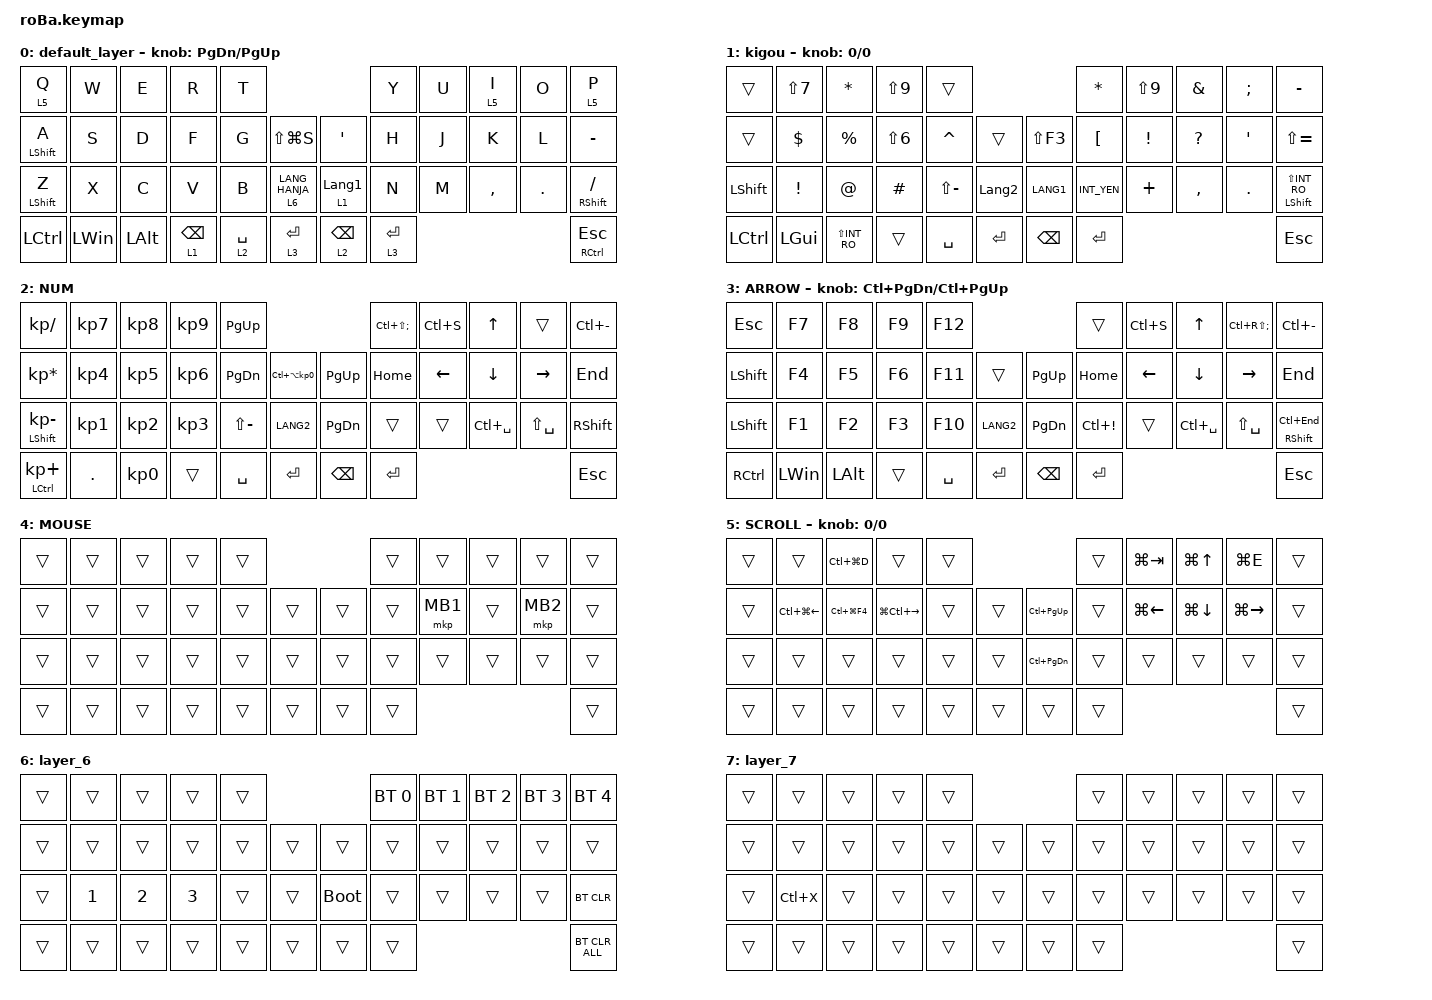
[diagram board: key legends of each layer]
#include <behaviors.dtsi>
#include <dt-bindings/zmk/bt.h>
#include <dt-bindings/zmk/keys.h>
#include <dt-bindings/zmk/pointing.h>

&mt {
    flavor = "balanced";
    quick-tap-ms = <0>;
};

&trackball {
    automouse-layer = <4>;
    scroll-layers = <5>;

    // arrows {
    //     layers = <3>;
    //     bindings =
    //         <&kp RIGHT_ARROW>,
    //         <&kp LEFT_ARROW>,
    //         <&kp UP_ARROW>,
    //         <&kp DOWN_ARROW>;
    //     tick = <10>;
    //     wait-ms = <5>;
    //     tap-ms = <5>;
    // };
};

/ {
    combos {
        compatible = "zmk,combos";

        shift_tab {
            bindings = <&kp LS(TAB)>;
            key-positions = <12 13>;
        };

        tab {
            bindings = <&kp TAB>;
            key-positions = <11 10>;
        };

        atto {
            bindings = <&kp LEFT_BRACKET>;
            key-positions = <32 33>;
        };

        hennkann {
            bindings = <&kp INTERNATIONAL_4>;
            key-positions = <28 29>;
        };

        mb1 {
            bindings = <&mkp MB1>;
            key-positions = <18 19>;
        };

        mb2 {
            bindings = <&mkp MB2>;
            key-positions = <19 20>;
        };

        BS {
            bindings = <&kp BACKSPACE>;
            key-positions = <16 17>;
        };

        del {
            bindings = <&kp DEL>;
            key-positions = <8 9>;
        };

        esc {
            bindings = <&kp ESCAPE>;
            key-positions = <0 1>;
        };

        sukusyo {
            bindings = <&kp LS(LG(S))>;
            key-positions = <27 26>;
        };

        kannsuuhennsyuu {
            bindings = <&kp LS(F3)>;
            key-positions = <3 4>;
        };

        selhennsyuu {
            bindings = <&kp LC(EXCLAMATION)>;
            key-positions = <5 6>;
        };
    };

    macros {
        to_layer_0: to_layer_0 {
            compatible = "zmk,behavior-macro-one-param";
            #binding-cells = <1>;
            bindings = <&to 0 &macro_param_1to1 &kp MACRO_PLACEHOLDER>;
            label = "TO_LAYER_0";
        };

        new_macro: new_macro {
            compatible = "zmk,behavior-macro";
            #binding-cells = <0>;
            bindings = <&none>;
            label = "NEW_MACRO";
        };
    };

    behaviors {
        lt_to_layer_0: lt_to_layer_0 {
            compatible = "zmk,behavior-hold-tap";
            label = "LAYER_TAP_TO_0";
            bindings = <&mo>, <&to_layer_0>;

            #binding-cells = <2>;
            tapping-term-ms = <200>;
        };
    };

    keymap {
        compatible = "zmk,keymap";

        default_layer {
            bindings = <
&lt_to_layer_0 5 Q  &kp W         &kp E         &kp R                       &kp T                                                                                 &kp Y                   &kp U  &lt 5 I    &kp O    &lt 5 P
&mt LEFT_SHIFT A    &kp S         &kp D         &kp F                       &kp G                   &kp LS(LG(S))                    &kp SQT                      &kp H                   &kp J  &kp K      &kp L    &kp MINUS
&mt LEFT_SHIFT Z    &kp X         &kp C         &kp V                       &kp B                   &lt_to_layer_0 6 LANG_HANJA      &lt_to_layer_0 1 LANGUAGE_1  &kp N                   &kp M  &kp COMMA  &kp DOT  &mt RIGHT_SHIFT SLASH
&kp LCTRL           &kp LEFT_WIN  &kp LEFT_ALT  &lt_to_layer_0 1 BACKSPACE  &lt_to_layer_0 2 SPACE  &lt_to_layer_0 3 ENTER           &lt_to_layer_0 2 BACKSPACE   &lt_to_layer_0 3 ENTER                             &mt RIGHT_CONTROL ESCAPE
            >;

            sensor-bindings = <&inc_dec_kp PAGE_DOWN PG_UP>;
        };

        kigou {
            bindings = <
&trans            &kp LS(N7)       &kp ASTRK       &kp LS(N9)        &trans                                            &kp ASTRK         &kp LS(N9)       &kp AMPERSAND  &kp SEMICOLON  &kp MINUS
&trans            &kp DOLLAR       &kp PERCENT     &kp LS(NUMBER_6)  &kp CARET      &trans              &kp LS(F3)     &kp LEFT_BRACKET  &kp EXCLAMATION  &kp QUESTION   &kp SQT        &kp LS(EQUAL)
&kp LEFT_SHIFT    &kp EXCLAMATION  &kp AT          &kp HASH          &kp LS(MINUS)  &kp LANGUAGE_2      &kp LANG1      &kp INT_YEN       &kp PLUS         &kp COMMA      &kp PERIOD     &mt LSHFT LS(INT_RO)
&kp LEFT_CONTROL  &kp LEFT_GUI     &kp LS(INT_RO)  &trans            &kp SPACE      &kp ENTER           &kp BACKSPACE  &kp ENTER                                                        &kp ESCAPE
            >;

            sensor-bindings = <&inc_dec_kp 0 0>;
        };

        NUM {
            bindings = <
&kp KP_DIVIDE             &kp KP_NUMBER_7  &kp KP_NUMBER_8  &kp KP_NUMBER_9  &kp PG_UP                                                  &kp LC(LS(SEMICOLON))  &kp LC(S)  &kp UP_ARROW   &trans           &kp LC(MINUS)
&kp KP_MULTIPLY           &kp KP_NUMBER_4  &kp KP_NUMBER_5  &kp KP_NUMBER_6  &kp PAGE_DOWN  &kp LC(LA(KP_NUMBER_0))      &kp PG_UP      &kp HOME               &kp LEFT   &kp DOWN       &kp RIGHT_ARROW  &kp END
&mt LEFT_SHIFT KP_MINUS   &kp KP_NUMBER_1  &kp KP_NUMBER_2  &kp KP_NUMBER_3  &kp LS(MINUS)  &kp LANG2                    &kp PAGE_DOWN  &trans                 &trans     &kp LC(SPACE)  &kp LS(SPACE)    &kp RIGHT_SHIFT
&mt LEFT_CONTROL KP_PLUS  &kp PERIOD       &kp KP_NUMBER_0  &trans           &kp SPACE      &kp ENTER                    &kp BACKSPACE  &kp ENTER                                                         &kp ESCAPE
            >;
        };

        ARROW {
            bindings = <
&kp ESCAPE         &kp F7        &kp F8        &kp F9  &kp F12                                  &trans               &kp LC(S)       &kp UP_ARROW   &kp LC(RS(SEMICOLON))  &kp LC(MINUS)
&kp LEFT_SHIFT     &kp F4        &kp F5        &kp F6  &kp F11    &trans         &kp PG_UP      &kp HOME             &kp LEFT_ARROW  &kp DOWN       &kp RIGHT_ARROW        &kp END
&kp LEFT_SHIFT     &kp F1        &kp F2        &kp F3  &kp F10    &kp LANG2      &kp PAGE_DOWN  &kp LC(EXCLAMATION)  &trans          &kp LC(SPACE)  &kp LS(SPACE)          &mt RIGHT_SHIFT LC(END)
&kp RIGHT_CONTROL  &kp LEFT_WIN  &kp LEFT_ALT  &trans  &kp SPACE  &kp ENTER      &kp BACKSPACE  &kp ENTER                                                                  &kp ESCAPE
            >;

            sensor-bindings = <&inc_dec_kp LC(PAGE_DOWN) LC(PG_UP)>;
        };

        MOUSE {
            bindings = <
&trans  &trans  &trans  &trans  &trans                      &trans  &trans    &trans  &trans    &trans
&trans  &trans  &trans  &trans  &trans  &trans      &trans  &trans  &mkp MB1  &trans  &mkp MB2  &trans
&trans  &trans  &trans  &trans  &trans  &trans      &trans  &trans  &trans    &trans  &trans    &trans
&trans  &trans  &trans  &trans  &trans  &trans      &trans  &trans                              &trans
            >;
        };

        SCROLL {
            bindings = <
&trans  &trans            &kp LC(LG(D))   &trans                   &trans                             &trans  &kp LG(TAB)   &kp LG(UP_ARROW)  &kp LG(E)            &trans
&trans  &kp LC(LG(LEFT))  &kp LC(LG(F4))  &kp LG(LC(RIGHT_ARROW))  &trans  &trans      &kp LC(PG_UP)  &trans  &kp LG(LEFT)  &kp LG(DOWN)      &kp LG(RIGHT_ARROW)  &trans
&trans  &trans            &trans          &trans                   &trans  &trans      &kp LC(PG_DN)  &trans  &trans        &trans            &trans               &trans
&trans  &trans            &trans          &trans                   &trans  &trans      &trans         &trans                                                       &trans
            >;

            sensor-bindings = <&inc_dec_kp 0 0>;
        };

        layer_6 {
            bindings = <
&trans  &trans        &trans        &trans        &trans                           &bt BT_SEL 0  &bt BT_SEL 1  &bt BT_SEL 2  &bt BT_SEL 3  &bt BT_SEL 4
&trans  &trans        &trans        &trans        &trans  &trans      &trans       &trans        &trans        &trans        &trans        &trans
&trans  &kp NUMBER_1  &kp NUMBER_2  &kp NUMBER_3  &trans  &trans      &bootloader  &trans        &trans        &trans        &trans        &bt BT_CLR
&trans  &trans        &trans        &trans        &trans  &trans      &trans       &trans                                                  &bt BT_CLR_ALL
            >;
        };

        layer_7 {
            bindings = <
&trans  &trans     &trans  &trans  &trans                      &trans  &trans  &trans  &trans  &trans
&trans  &trans     &trans  &trans  &trans  &trans      &trans  &trans  &trans  &trans  &trans  &trans
&trans  &kp LC(X)  &trans  &trans  &trans  &trans      &trans  &trans  &trans  &trans  &trans  &trans
&trans  &trans     &trans  &trans  &trans  &trans      &trans  &trans                          &trans
            >;
        };
    };
};
